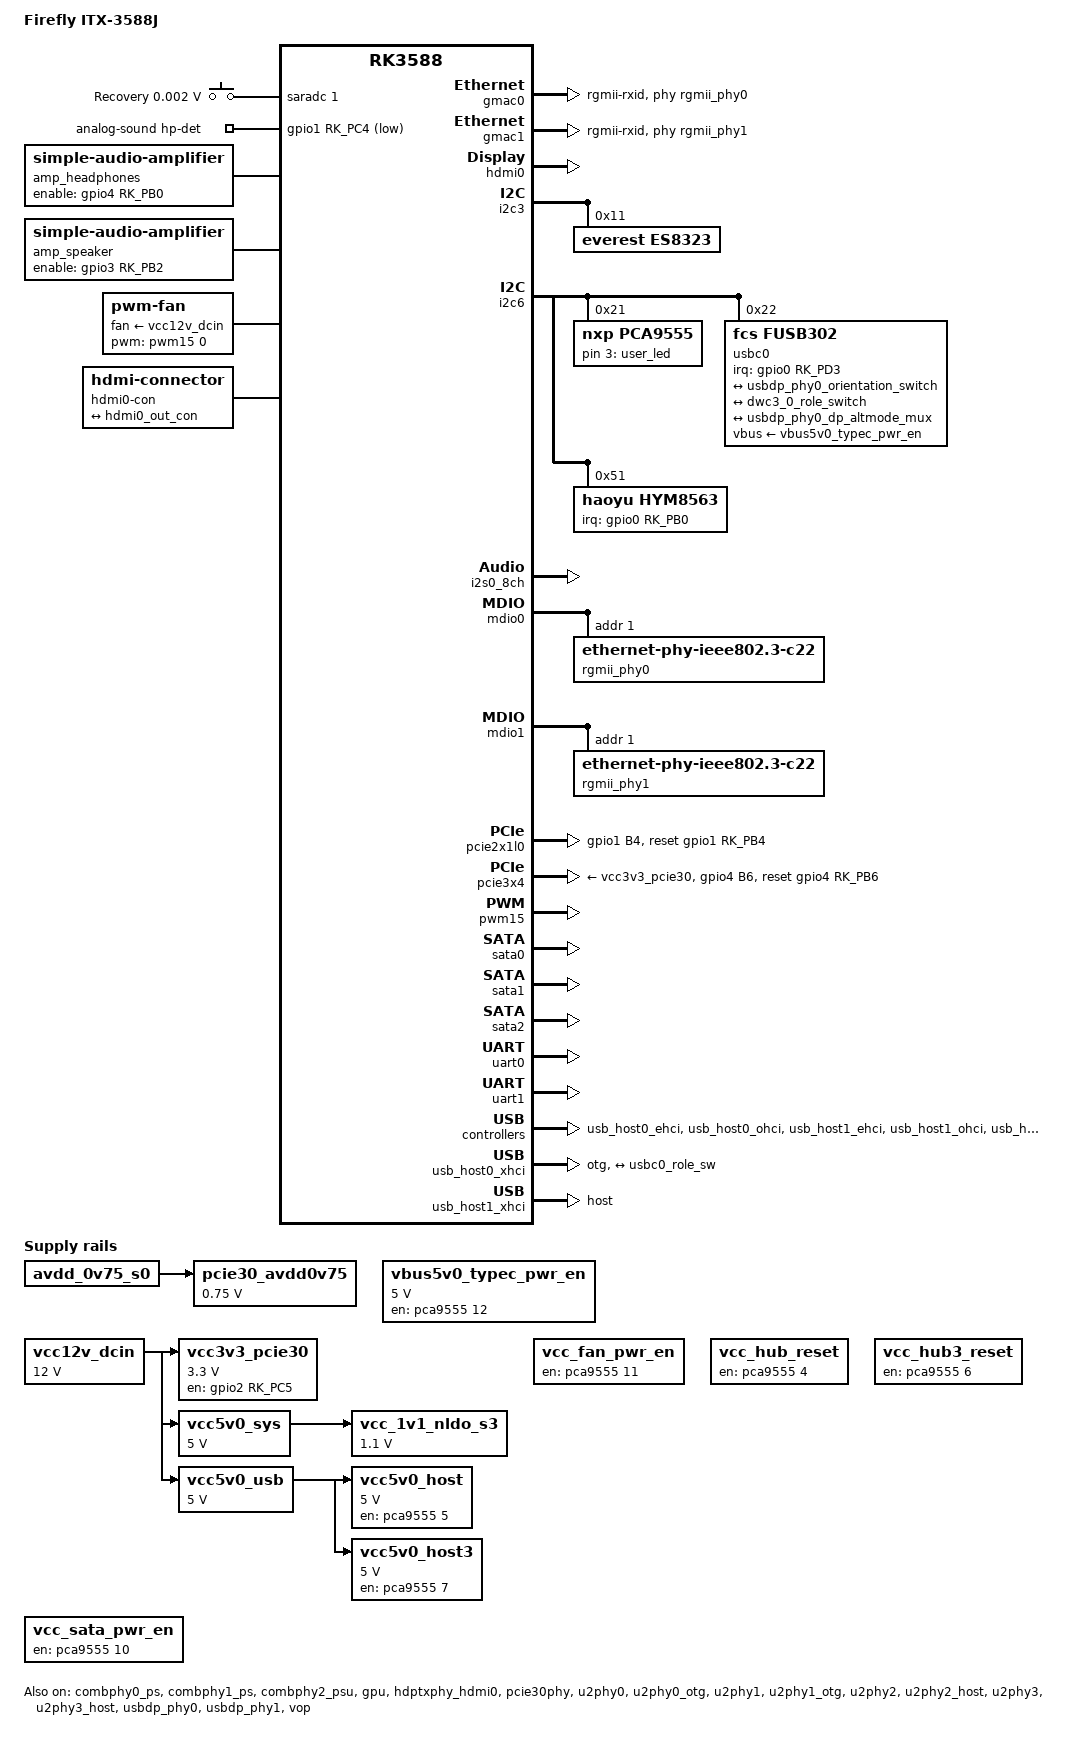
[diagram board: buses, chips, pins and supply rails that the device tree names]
// SPDX-License-Identifier: (GPL-2.0+ OR MIT)

/dts-v1/;

#include <dt-bindings/gpio/gpio.h>
#include <dt-bindings/input/input.h>
#include <dt-bindings/leds/common.h>
#include <dt-bindings/pinctrl/rockchip.h>
#include <dt-bindings/pwm/pwm.h>
#include <dt-bindings/soc/rockchip,vop2.h>
#include "dt-bindings/usb/pd.h"

#include "rk3588-firefly-core-3588j.dtsi"

/ {
	model = "Firefly ITX-3588J";
	compatible = "firefly,itx-3588j", "firefly,core-3588j", "rockchip,rk3588";

	aliases {
		ethernet0 = &gmac0;
		ethernet1 = &gmac1;
	};

	chosen {
		stdout-path = "serial2:1500000n8";
	};

	/*
	 * there are also a "Reset" and "Mask ROM" button, but the needed
	 * settings are unknown at this time
	 */
	adc-keys-0 {
		compatible = "adc-keys";
		io-channels = <&saradc 1>;
		io-channel-names = "buttons";
		keyup-threshold-microvolt = <1800000>;
		poll-interval = <100>;

		button-recovery {
			label = "Recovery";
			linux,code = <KEY_VENDOR>;
			press-threshold-microvolt = <2000>;
		};
	};

	analog-sound {
		compatible = "simple-audio-card";
		pinctrl-0 = <&hp_detect>;
		pinctrl-names = "default";
		simple-audio-card,aux-devs = <&amp_headphones>, <&amp_speaker>;
		simple-audio-card,format = "i2s";
		simple-audio-card,hp-det-gpios = <&gpio1 RK_PC4 GPIO_ACTIVE_LOW>;
		simple-audio-card,mclk-fs = <384>;
		simple-audio-card,name = "rockchip_es8323";
		simple-audio-card,pin-switches = "Headphones", "Speaker";
		simple-audio-card,routing =
			"Speaker Amplifier INL", "LOUT2",
			"Speaker Amplifier INR", "ROUT2",
			"Speaker", "Speaker Amplifier OUTL",
			"Speaker", "Speaker Amplifier OUTR",
			"Headphones Amplifier INL", "LOUT1",
			"Headphones Amplifier INR", "ROUT1",
			"Headphones", "Headphones Amplifier OUTL",
			"Headphones", "Headphones Amplifier OUTR",
			"LINPUT1", "Microphone Jack",
			"RINPUT1", "Microphone Jack",
			"LINPUT2", "Onboard Microphone",
			"RINPUT2", "Onboard Microphone";
		simple-audio-card,widgets =
			"Microphone", "Microphone Jack",
			"Microphone", "Onboard Microphone",
			"Headphone", "Headphones",
			"Speaker", "Speaker";

		simple-audio-card,cpu {
			sound-dai = <&i2s0_8ch>;
		};

		simple-audio-card,codec {
			sound-dai = <&es8323>;
			system-clock-frequency = <12288000>;
		};
	};

	/*
	 * this does not seem to be a proper "amplifier" but is just
	 * a way to control the GPIO pins to switch on or off the given
	 * sound output device
	 */
	amp_headphones: headphones-audio-amplifier {
		compatible = "simple-audio-amplifier";
		enable-gpios = <&gpio4 RK_PB0 GPIO_ACTIVE_HIGH>;
		pinctrl-names = "default";
		pinctrl-0 = <&headphone_amplifier_en>;
		sound-name-prefix = "Headphones Amplifier";
	};

	amp_speaker: speaker-audio-amplifier {
		compatible = "simple-audio-amplifier";
		enable-gpios = <&gpio3 RK_PB2 GPIO_ACTIVE_HIGH>;
		pinctrl-names = "default";
		pinctrl-0 = <&speaker_amplifier_en>;
		sound-name-prefix = "Speaker Amplifier";
	};

	fan: pwm-fan {
		compatible = "pwm-fan";
		#cooling-cells = <2>;
		cooling-levels = <0 120 150 180 210 240 255>;
		fan-supply = <&vcc12v_dcin>;
		pwms = <&pwm15 0 50000 1>;
	};

	hdmi0-con {
		compatible = "hdmi-connector";
		type = "a";

		port {
			hdmi0_con_in: endpoint {
				remote-endpoint = <&hdmi0_out_con>;
			};
		};
	};

	leds {
		compatible = "gpio-leds";

		/*
		 * There is also a Power LED control @ RK_PB3 on
		 * GPIO1 but for some reason it doesn't seem to work right
		 */

		user_led: led-1 {
			gpios = <&pca9555 3 GPIO_ACTIVE_HIGH>;
			linux,default-trigger = "disk-activity";
		};
	};

	pcie30_avdd0v75: regulator-pcie30-avdd0v75 {
		compatible = "regulator-fixed";
		regulator-always-on;
		regulator-boot-on;
		regulator-min-microvolt = <750000>;
		regulator-max-microvolt = <750000>;
		regulator-name = "pcie30_avdd0v75";
		vin-supply = <&avdd_0v75_s0>;
	};

	vbus5v0_typec_pwr_en: regulator-vbus5v0-typec-pwr-en {
		compatible = "regulator-fixed";
		enable-active-high;
		gpios = <&pca9555 12 GPIO_ACTIVE_HIGH>;
		regulator-min-microvolt = <5000000>;
		regulator-max-microvolt = <5000000>;
		regulator-name = "vbus5v0_typec_pwr_en";
	};

	vcc12v_dcin: regulator-vcc12v-dcin {
		compatible = "regulator-fixed";
		regulator-always-on;
		regulator-boot-on;
		regulator-min-microvolt = <12000000>;
		regulator-max-microvolt = <12000000>;
		regulator-name = "vcc12v_dcin";
	};

	vcc3v3_pcie30: regulator-vcc3v3-pcie30 {
		compatible = "regulator-fixed";
		enable-active-high;
		gpios = <&gpio2 RK_PC5 GPIO_ACTIVE_HIGH>;
		pinctrl-names = "default";
		pinctrl-0 = <&pcie3_vcc3v3_en>;
		regulator-min-microvolt = <3300000>;
		regulator-max-microvolt = <3300000>;
		regulator-name = "vcc3v3_pcie30";
		startup-delay-us = <5000>;
		vin-supply = <&vcc12v_dcin>;
	};

	vcc5v0_host: regulator-vcc5v0-host {
		compatible = "regulator-fixed";
		enable-active-high;
		gpios = <&pca9555 5 GPIO_ACTIVE_HIGH>;
		regulator-always-on;
		regulator-boot-on;
		regulator-min-microvolt = <5000000>;
		regulator-max-microvolt = <5000000>;
		regulator-name = "vcc5v0_host";
		vin-supply = <&vcc5v0_usb>;
	};

	vcc5v0_host3: regulator-vcc5v0-host3 {
		compatible = "regulator-fixed";
		enable-active-high;
		gpios = <&pca9555 7 GPIO_ACTIVE_HIGH>;
		regulator-name = "vcc5v0_host3";
		regulator-boot-on;
		regulator-always-on;
		regulator-min-microvolt = <5000000>;
		regulator-max-microvolt = <5000000>;
		vin-supply = <&vcc5v0_usb>;
	};

	vcc5v0_sys: regulator-vcc5v0-sys {
		compatible = "regulator-fixed";
		regulator-always-on;
		regulator-boot-on;
		regulator-min-microvolt = <5000000>;
		regulator-max-microvolt = <5000000>;
		regulator-name = "vcc5v0_sys";
		vin-supply = <&vcc12v_dcin>;
	};

	vcc5v0_usb: regulator-vcc5v0-usb {
		compatible = "regulator-fixed";
		regulator-always-on;
		regulator-boot-on;
		regulator-min-microvolt = <5000000>;
		regulator-max-microvolt = <5000000>;
		regulator-name = "vcc5v0_usb";
		vin-supply = <&vcc12v_dcin>;
	};

	vcc_1v1_nldo_s3: regulator-vcc-1v1-nldo-s3 {
		compatible = "regulator-fixed";
		regulator-always-on;
		regulator-boot-on;
		regulator-min-microvolt = <1100000>;
		regulator-max-microvolt = <1100000>;
		regulator-name = "vcc_1v1_nldo_s3";
		vin-supply = <&vcc5v0_sys>;
	};

	vcc_fan_pwr_en: regulator-vcc-fan-pwr-en {
		compatible = "regulator-fixed";
		enable-active-high;
		gpios = <&pca9555 11 GPIO_ACTIVE_HIGH>;
		regulator-always-on;
		regulator-boot-on;
		regulator-name = "vcc_fan_pwr_en";
	};

	vcc_hub_reset: regulator-vcc-hub-reset {
		compatible = "regulator-fixed";
		enable-active-high;
		gpios = <&pca9555 4 GPIO_ACTIVE_HIGH>;
		regulator-always-on;
		regulator-boot-on;
		regulator-name = "vcc_hub_reset";
	};

	vcc_hub3_reset: regulator-vcc-hub3-reset {
		compatible = "regulator-fixed";
		enable-active-high;
		gpios = <&pca9555 6 GPIO_ACTIVE_HIGH>;
		regulator-always-on;
		regulator-name = "vcc_hub3_reset";
	};

	vcc_sata_pwr_en: regulator-vcc-sata-pwr-en {
		compatible = "regulator-fixed";
		enable-active-high;
		gpios = <&pca9555 10 GPIO_ACTIVE_HIGH>;
		regulator-always-on;
		regulator-boot-on;
		regulator-name = "vcc_sata_pwr_en";
	};
};

&avcc_1v8_s0 {
	regulator-state-mem {
		regulator-on-in-suspend;
	};
};

&combphy0_ps {
	status = "okay";
};

&combphy1_ps {
	status = "okay";
};

&combphy2_psu {
	status = "okay";
};

&gmac0 {
	clock_in_out = "output";
	phy-handle = <&rgmii_phy0>;
	phy-mode = "rgmii-rxid";
	pinctrl-names = "default";
	pinctrl-0 = <&gmac0_miim
		     &gmac0_tx_bus2
		     &gmac0_rx_bus2
		     &gmac0_rgmii_clk
		     &gmac0_rgmii_bus>;
	tx_delay = <0x45>;
	rx_delay = <0x4a>;
	status = "okay";
};

&gmac1 {
	clock_in_out = "output";
	phy-handle = <&rgmii_phy1>;
	phy-mode = "rgmii-rxid";
	pinctrl-names = "default";
	pinctrl-0 = <&gmac1_miim
		     &gmac1_tx_bus2
		     &gmac1_rx_bus2
		     &gmac1_rgmii_clk
		     &gmac1_rgmii_bus>;
	tx_delay = <0x42>;
	rx_delay = <0x4f>;
	status = "okay";
};

&gpu {
	mali-supply = <&vdd_gpu_s0>;
	sram-supply = <&vdd_gpu_mem_s0>;
	status = "okay";
};

&hdmi0 {
	status = "okay";
};

&hdmi0_in {
	hdmi0_in_vp0: endpoint {
		remote-endpoint = <&vp0_out_hdmi0>;
	};
};

&hdmi0_out {
	hdmi0_out_con: endpoint {
		remote-endpoint = <&hdmi0_con_in>;
	};
};

&hdptxphy_hdmi0 {
	status = "okay";
};

&i2c3 {
	status = "okay";

	/*
	 * in the Firefly BSP source this was confusingly called an
	 * "ES8388" - it actually seems to be an ES8323 and the drivers
	 * for that work best
	 */
	es8323: audio-codec@11 {
		compatible = "everest,es8323";
		reg = <0x11>;
		assigned-clocks = <&cru I2S0_8CH_MCLKOUT>;
		assigned-clock-rates = <12288000>;
		clocks = <&cru I2S0_8CH_MCLKOUT>;
		clock-names = "mclk";
		#sound-dai-cells = <0>;
	};
};

&i2c6 {
	pinctrl-names = "default";
	pinctrl-0 = <&i2c6m0_xfer>;
	status = "okay";

	pca9555: gpio@21 {
		compatible = "nxp,pca9555";
		reg = <0x21>;
		gpio-controller;
		#gpio-cells = <2>;
	};

	usbc0: usb-typec@22 {
		compatible = "fcs,fusb302";
		reg = <0x22>;
		interrupt-parent = <&gpio0>;
		interrupts = <RK_PD3 IRQ_TYPE_LEVEL_LOW>;
		pinctrl-names = "default";
		pinctrl-0 = <&usbc0_int>;
		vbus-supply = <&vbus5v0_typec_pwr_en>;

		usb_con: connector {
			compatible = "usb-c-connector";
			label = "USB-C";
			data-role = "dual";
			op-sink-microwatt = <1000000>;
			power-role = "dual";
			sink-pdos =
				<PDO_FIXED(5000, 1000, PDO_FIXED_USB_COMM)>;
			source-pdos =
				<PDO_FIXED(5000, 3000, PDO_FIXED_USB_COMM)>;
			try-power-role = "source";

			ports {
				#address-cells = <1>;
				#size-cells = <0>;

				port@0 {
					reg = <0>;

					usbc0_orien_sw: endpoint {
						remote-endpoint = <&usbdp_phy0_orientation_switch>;
					};
				};

				port@1 {
					reg = <1>;

					usbc0_role_sw: endpoint {
						remote-endpoint = <&dwc3_0_role_switch>;
					};
				};

				port@2 {
					reg = <2>;

					dp_altmode_mux: endpoint {
						remote-endpoint = <&usbdp_phy0_dp_altmode_mux>;
					};
				};
			};
		};
	};

	hym8563: rtc@51 {
		compatible = "haoyu,hym8563";
		reg = <0x51>;
		interrupt-parent = <&gpio0>;
		interrupts = <RK_PB0 IRQ_TYPE_LEVEL_LOW>;
		#clock-cells = <0>;
		clock-output-names = "hym8563";
		pinctrl-names = "default";
		pinctrl-0 = <&hym8563_int>;
		wakeup-source;
	};
};

&i2s0_8ch {
	pinctrl-names = "default";
	pinctrl-0 = <&i2s0_lrck
		     &i2s0_mclk
		     &i2s0_sclk
		     &i2s0_sdi0
		     &i2s0_sdo0>;
	status = "okay";
};

&mdio0 {
	rgmii_phy0: ethernet-phy@1 {
		compatible = "ethernet-phy-ieee802.3-c22";
		reg = <0x1>;
	};
};

&mdio1 {
	rgmii_phy1: ethernet-phy@1 {
		compatible = "ethernet-phy-ieee802.3-c22";
		reg = <0x1>;
	};
};

&pcie2x1l0 {
	pinctrl-names = "default";
	pinctrl-0 = <&pcie2_0_rst>;
	reset-gpios = <&gpio1 RK_PB4 GPIO_ACTIVE_HIGH>;
	status = "okay";
};

&pcie30phy {
	status = "okay";
};

&pcie3x4 {
	pinctrl-names = "default";
	pinctrl-0 = <&pcie3_rst>;
	reset-gpios = <&gpio4 RK_PB6 GPIO_ACTIVE_HIGH>;
	vpcie3v3-supply = <&vcc3v3_pcie30>;
	status = "okay";
};

&pinctrl {
	dp {
		dp1_hpd: dp1-hpd {
			 rockchip,pins = <1 RK_PA4 RK_FUNC_GPIO &pcfg_pull_none>;
		};
	};

	hym8563 {
		hym8563_int: hym8563-int {
			rockchip,pins = <0 RK_PB0 RK_FUNC_GPIO &pcfg_pull_up>;
		};
	};

	gpio-leds {
		sys_led_pin: sys-led-pin {
			rockchip,pins =
				<1 RK_PB3 RK_FUNC_GPIO &pcfg_pull_none>;
		};
	};

	pcie2 {
		pcie2_0_rst: pcie2-0-rst {
			rockchip,pins = <1 RK_PB4 RK_FUNC_GPIO &pcfg_pull_none>;
		};
	};

	pcie3 {
		pcie3_rst: pcie3-rst {
			rockchip,pins = <4 RK_PB6 RK_FUNC_GPIO &pcfg_pull_none>;
		};

		pcie3_vcc3v3_en: pcie3-vcc3v3-en {
			rockchip,pins = <2 RK_PC5 RK_FUNC_GPIO &pcfg_pull_none>;
		};
	};

	sound {
		hp_detect: hp-detect {
			rockchip,pins = <1 RK_PC4 RK_FUNC_GPIO &pcfg_pull_none>;
		};

		headphone_amplifier_en: headphone-amplifier-en {
			rockchip,pins = <4 RK_PB0 RK_FUNC_GPIO &pcfg_pull_none>;
		};

		speaker_amplifier_en: speaker-amplifier-en {
			rockchip,pins = <3 RK_PB2 RK_FUNC_GPIO &pcfg_pull_none>;
		};
	};

	usb {
		usbc0_int: usbc0-int {
			rockchip,pins = <0 RK_PD3 RK_FUNC_GPIO &pcfg_pull_up>;
		};
	};
};

&pwm15 {
	pinctrl-names = "default";
	pinctrl-0 = <&pwm15m2_pins>;
	status = "okay";
};

&sata0 {
	status = "okay";
};

&sata1 {
	status = "okay";
};

&sata2 {
	status = "okay";
};

/* uart/232/485 */
&uart0 {
	pinctrl-0 = <&uart0m2_xfer>;
	status = "okay";
};

&uart1 {
	pinctrl-0 = <&uart1m1_xfer>;
	status = "okay";
};

/* usb enable */
&u2phy0 {
	status = "okay";
};

&u2phy0_otg {
	status = "okay";
};

&u2phy1 {
	status = "okay";
};

&u2phy1_otg {
	phy-supply = <&vcc5v0_host>;
	status = "okay";
};

&u2phy2 {
	status = "okay";
};

&u2phy2_host {
	phy-supply = <&vcc5v0_host>;
	status = "okay";
};

&u2phy3 {
	status = "okay";
};

&u2phy3_host {
	phy-supply = <&vcc5v0_host>;
	status = "okay";
};

&usb_host0_ehci {
	status = "okay";
};

&usb_host0_ohci {
	status = "okay";
};

&usb_host1_ehci {
	status = "okay";
};

&usb_host1_ohci {
	status = "okay";
};

&usb_host0_xhci {
	usb-role-switch;
	dr_mode = "otg";
	status = "okay";

	port {
		#address-cells = <1>;
		#size-cells = <0>;

		dwc3_0_role_switch: endpoint@0 {
			reg = <0>;
			remote-endpoint = <&usbc0_role_sw>;
		};
	};
};

&usb_host1_xhci {
	dr_mode = "host";
	status = "okay";
};

&usb_host2_xhci {
	status = "okay";
};

&usbdp_phy0 {
	orientation-switch;
	sbu1-dc-gpios = <&gpio4 RK_PA6 GPIO_ACTIVE_HIGH>;
	sbu2-dc-gpios = <&gpio4 RK_PA7 GPIO_ACTIVE_HIGH>;
	status = "okay";

	port {
		#address-cells = <1>;
		#size-cells = <0>;

		usbdp_phy0_orientation_switch: endpoint@0 {
			reg = <0>;
			remote-endpoint = <&usbc0_orien_sw>;
		};

		usbdp_phy0_dp_altmode_mux: endpoint@1 {
			reg = <1>;
			remote-endpoint = <&dp_altmode_mux>;
		};
	};
};

&usbdp_phy1 {
	rockchip,dp-lane-mux = <2 3>;
	status = "okay";
};

&vcc_1v8_s0 {
	regulator-state-mem {
		regulator-on-in-suspend;
		regulator-suspend-microvolt = <1800000>;
	};
};

/* for fan when deep sleep */
&vdd_log_s0 {
	regulator-state-mem {
		regulator-on-in-suspend;
		regulator-suspend-microvolt = <750000>;
	};
};

/* display generator */
&vop_mmu {
	status = "okay";
};

&vop {
	status = "okay";
};

&vp0 {
	vp0_out_hdmi0: endpoint@ROCKCHIP_VOP2_EP_HDMI0 {
		reg = <ROCKCHIP_VOP2_EP_HDMI0>;
		remote-endpoint = <&hdmi0_in_vp0>;
	};
};
